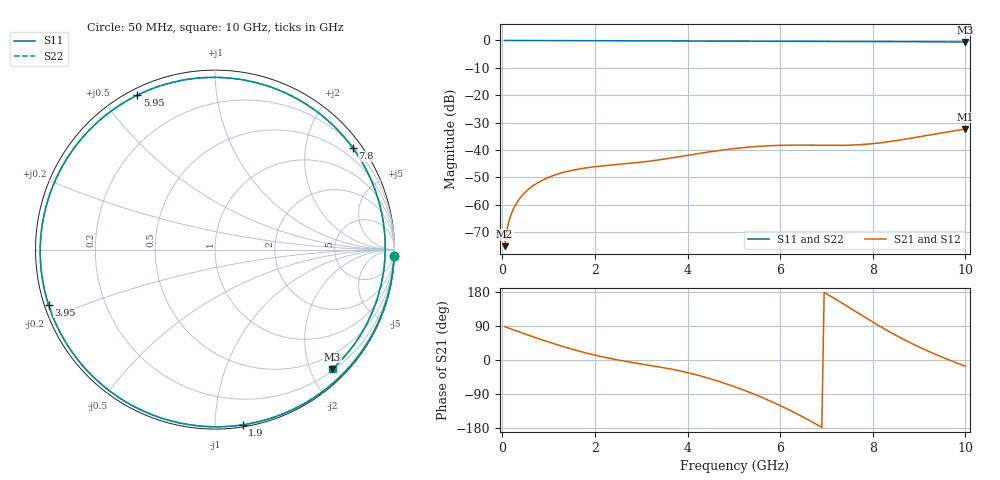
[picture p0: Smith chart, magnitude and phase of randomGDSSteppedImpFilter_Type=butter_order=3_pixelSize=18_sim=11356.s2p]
! freq	dB(S11)	phase(S11)	dB(S12)	phase(S12)
!  dB(S21)	phase(S21)	dB(S22)	phase(S22)
!S-par simulation data
#  GHz  S  DB  R 50
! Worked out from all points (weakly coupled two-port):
!   200 points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, 50 MHz to 10 GHz, reference 50 ohm
!   highest |S21| = -32.34 dB at 10 GHz (marker M1); lowest = -75.1 dB at 50 MHz (marker M2)
!   lowest |S11| = -0.6 dB at 10 GHz (marker M3), VSWR 28.86, Z = 11.5 - j118 ohm
!   |S11| at or under -10 dB: nowhere
!   |S22| runs from -0.6 to 0.0 dB; largest |S21 - S12| = 0
!   S11 on the Smith chart (normalised r, x): 50 MHz: 1, -54; 1.9 GHz: 0.01, -1.17; 3.95 GHz: 0.01, -0.16; 5.95 GHz: 0.03, +0.62; 7.8 GHz: 0.24, +3.02; 10 GHz: 0.23, -2.37
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0.05  -0.01 -2.1  -75.13 88.3  -75.13 88.3  -0.01 -2.1
0.1  -0.02 -4.3  -69.13 85.8  -69.13 85.8  -0.02 -4.3
0.2  -0.02 -8.7  -63.14 81.3  -63.14 81.3  -0.02 -8.7
0.35  -0.03 -15.3  -58.36 74.7  -58.36 74.7  -0.03 -15.3
0.5  -0.03 -21.9  -55.38 68.2  -55.38 68.2  -0.03 -21.9
1  -0.06 -43.5  -50.00 47.5  -50.00 47.5  -0.06 -43.5
1.75  -0.09 -74.9  -46.69 20.4  -46.69 20.4  -0.09 -74.9
1.9  -0.10 -81.0  -46.33 15.8  -46.33 15.8  -0.10 -81.0
2.6  -0.13 -109.1  -45.13 -2.2  -45.13 -2.2  -0.13 -109.1
3.4  -0.17 -140.3  -43.58 -18.4  -43.58 -18.4  -0.17 -140.3
3.95  -0.20 -161.7  -42.11 -31.9  -42.11 -31.9  -0.20 -161.7
4.5  -0.24 176.7  -40.62 -49.8  -40.62 -49.8  -0.24 176.7
5.05  -0.27 154.5  -39.41 -72.0  -39.41 -72.0  -0.27 154.6
5.5  -0.30 135.9  -38.72 -93.3  -38.72 -93.3  -0.30 135.9
5.95  -0.33 116.8  -38.34 -117.4  -38.34 -117.4  -0.33 116.8
6.35  -0.35 99.4  -38.23 -141.2  -38.23 -141.2  -0.35 99.5
6.7  -0.36 84.1  -38.26 -164.0  -38.26 -164.0  -0.36 84.2
7.2  -0.39 62.2  -38.34 160.4  -38.34 160.4  -0.39 62.3
7.8  -0.41 36.4  -37.99 115.0  -37.99 115.0  -0.41 36.5
8.35  -0.44 13.8  -36.97 75.2  -36.97 75.2  -0.44 13.9
9.1  -0.49 -14.9  -34.90 28.7  -34.90 28.7  -0.49 -14.8
10  -0.60 -45.5  -32.34 -16.6  -32.34 -16.6  -0.60 -45.4
